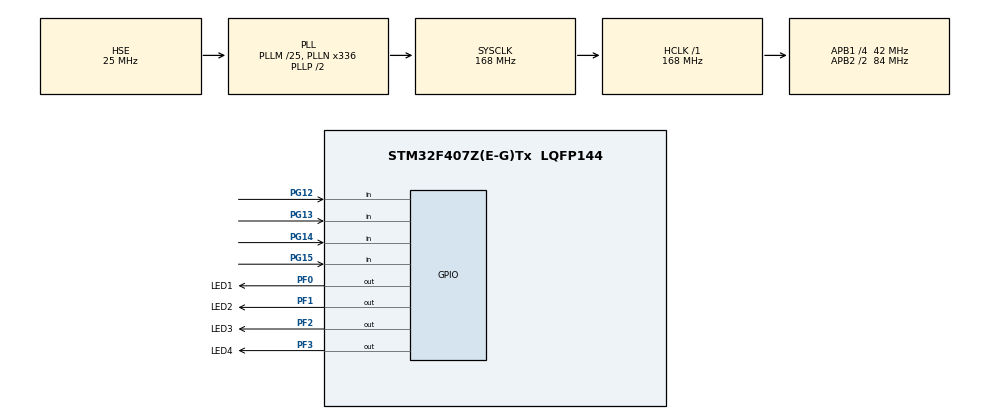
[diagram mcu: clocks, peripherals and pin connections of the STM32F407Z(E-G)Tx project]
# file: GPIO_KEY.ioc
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Mcu.Family=STM32F4
Mcu.Name=STM32F407Z(E-G)Tx
Mcu.Package=LQFP144
NVIC.PriorityGroup=NVIC_PRIORITYGROUP_4
PF0.GPIO_Label=LED1
PF0.Signal=GPIO_Output
PF1.GPIO_Label=LED2
PF1.Signal=GPIO_Output
PF2.GPIO_Label=LED3
PF2.Signal=GPIO_Output
PF3.GPIO_Label=LED4
PF3.Signal=GPIO_Output
PG12.Signal=GPIO_Input
PG13.Signal=GPIO_Input
PG14.Signal=GPIO_Input
PG15.Signal=GPIO_Input
PH0-OSC_IN.Mode=HSE-External-Oscillator
PH0-OSC_IN.Signal=RCC_OSC_IN
PH1-OSC_OUT.Mode=HSE-External-Oscillator
PH1-OSC_OUT.Signal=RCC_OSC_OUT
ProjectManager.HeapSize=0x200
ProjectManager.StackSize=0x400
ProjectManager.TargetToolchain=STM32CubeIDE
RCC.48MHZClocksFreq_Value=84000000
RCC.AHBFreq_Value=168000000
RCC.APB1CLKDivider=RCC_HCLK_DIV4
RCC.APB1Freq_Value=42000000
RCC.APB1TimFreq_Value=84000000
RCC.APB2CLKDivider=RCC_HCLK_DIV2
RCC.APB2Freq_Value=84000000
RCC.APB2TimFreq_Value=168000000
RCC.CortexFreq_Value=168000000
RCC.HCLKFreq_Value=168000000
RCC.HSE_VALUE=25000000
RCC.HSI_VALUE=16000000
RCC.LSE_VALUE=32768
RCC.PLLM=25
RCC.PLLN=336
RCC.PLLSourceVirtual=RCC_PLLSOURCE_HSE
RCC.SYSCLKFreq_VALUE=168000000
RCC.SYSCLKSource=RCC_SYSCLKSOURCE_PLLCLK
RCC.VCOOutputFreq_Value=336000000
board=custom

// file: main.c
/* USER CODE BEGIN Header */
/**
  ******************************************************************************
  * @file           : main.c
  * @brief          : Main program body
  ******************************************************************************
  * @attention
  *
  * Copyright (c) 2022 STMicroelectronics.
  * All rights reserved.
  *
  * This software is licensed under terms that can be found in the LICENSE file
  * in the root directory of this software component.
  * If no LICENSE file comes with this software, it is provided AS-IS.
  *
  ******************************************************************************
  */
/* USER CODE END Header */
#include "main.h"
#include "gpio.h"

void SystemClock_Config(void);
/* USER CODE BEGIN PFP */
char ket_state(uint16_t GPIO_KEY){
	if (HAL_GPIO_ReadPin(GPIOG, GPIO_KEY)){
		return 1;
	}else{
		return 0;
	}
	HAL_Delay(10);
}
/* USER CODE END PFP */

int main(void)
{

  /* MCU Configuration--------------------------------------------------------*/

  /* Reset of all peripherals, Initializes the Flash interface and the Systick. */
  HAL_Init();

  /* Configure the system clock */
  SystemClock_Config();

  /* Initialize all configured peripherals */
  MX_GPIO_Init();

  /* Infinite loop */
  while (1)
  {

    /* USER CODE BEGIN 3 */
	  if(ket_state(GPIO_PIN_12)){
		  HAL_GPIO_WritePin(GPIOF, GPIO_PIN_0 , GPIO_PIN_SET);
	  }
	  else{
		  HAL_GPIO_WritePin(GPIOF, GPIO_PIN_0 , GPIO_PIN_RESET);
	  }
	  if( ket_state(GPIO_PIN_13)){
		  HAL_GPIO_WritePin(GPIOF, GPIO_PIN_1 , GPIO_PIN_SET);
	  }
	  else{
		  HAL_GPIO_WritePin(GPIOF, GPIO_PIN_1 , GPIO_PIN_RESET);
	  }
	  if( ket_state(GPIO_PIN_14)){
		  HAL_GPIO_WritePin(GPIOF, GPIO_PIN_2 , GPIO_PIN_SET);
	  }
	  else{
		  HAL_GPIO_WritePin(GPIOF, GPIO_PIN_2 , GPIO_PIN_RESET);
	  }
	  if(ket_state(GPIO_PIN_15)){
		  HAL_GPIO_WritePin(GPIOF, GPIO_PIN_3 , GPIO_PIN_SET);
	  }
	  else{
		  HAL_GPIO_WritePin(GPIOF, GPIO_PIN_3 , GPIO_PIN_RESET);
	  }
  }
  /* USER CODE END 3 */
}

void SystemClock_Config(void)
{
  RCC_OscInitTypeDef RCC_OscInitStruct = {0};
  RCC_ClkInitTypeDef RCC_ClkInitStruct = {0};

  /** Configure the main internal regulator output voltage
  */
  __HAL_RCC_PWR_CLK_ENABLE();
  __HAL_PWR_VOLTAGESCALING_CONFIG(PWR_REGULATOR_VOLTAGE_SCALE1);

  /** Initializes the RCC Oscillators according to the specified parameters
  * in the RCC_OscInitTypeDef structure.
  */
  RCC_OscInitStruct.OscillatorType = RCC_OSCILLATORTYPE_HSE;
  RCC_OscInitStruct.HSEState = RCC_HSE_ON;
  RCC_OscInitStruct.PLL.PLLState = RCC_PLL_ON;
  RCC_OscInitStruct.PLL.PLLSource = RCC_PLLSOURCE_HSE;
  RCC_OscInitStruct.PLL.PLLM = 25;
  RCC_OscInitStruct.PLL.PLLN = 336;
  RCC_OscInitStruct.PLL.PLLP = RCC_PLLP_DIV2;
  RCC_OscInitStruct.PLL.PLLQ = 4;
  if (HAL_RCC_OscConfig(&RCC_OscInitStruct) != HAL_OK)
  {
    Error_Handler();
  }

  /** Initializes the CPU, AHB and APB buses clocks
  */
  RCC_ClkInitStruct.ClockType = RCC_CLOCKTYPE_HCLK|RCC_CLOCKTYPE_SYSCLK
                              |RCC_CLOCKTYPE_PCLK1|RCC_CLOCKTYPE_PCLK2;
  RCC_ClkInitStruct.SYSCLKSource = RCC_SYSCLKSOURCE_PLLCLK;
  RCC_ClkInitStruct.AHBCLKDivider = RCC_SYSCLK_DIV1;
  RCC_ClkInitStruct.APB1CLKDivider = RCC_HCLK_DIV4;
  RCC_ClkInitStruct.APB2CLKDivider = RCC_HCLK_DIV2;

  if (HAL_RCC_ClockConfig(&RCC_ClkInitStruct, FLASH_LATENCY_5) != HAL_OK)
  {
    Error_Handler();
  }
}

void Error_Handler(void)
{
  __disable_irq();
  while (1)
  {
  }
}
